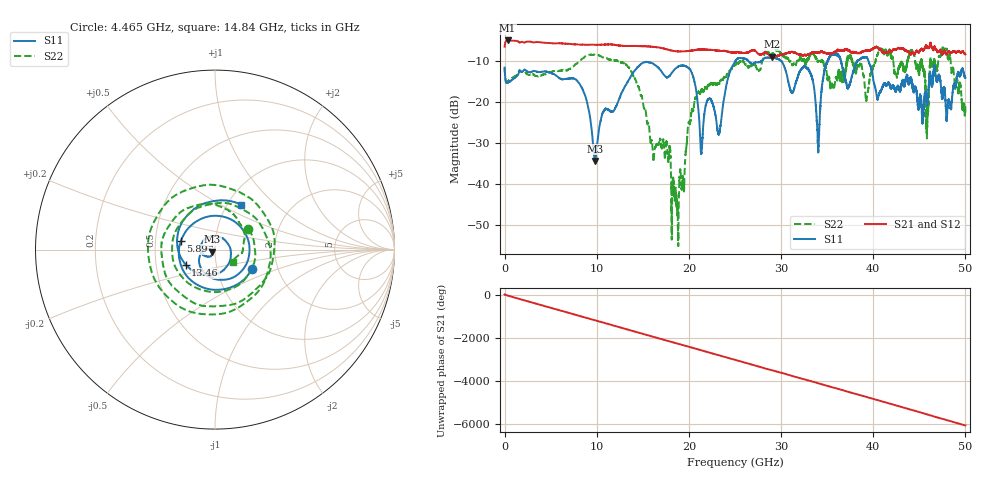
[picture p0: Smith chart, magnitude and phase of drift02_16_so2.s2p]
!Created with skrf (http://scikit-rf.org).
# Hz S RI R 50.0
!freq ReS11 ImS11 ReS21 ImS21 ReS12 ImS12 ReS22 ImS22
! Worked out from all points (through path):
!   10001 points, 300 kHz to 50 GHz, reference 50 ohm
!   highest |S21| = -5.04 dB at 320.3 MHz (marker M1); lowest = -9.0 dB at 29.01 GHz (marker M2)
!   group delay of S21, straight-line fit = 336 ps
!   lowest |S11| = -34.5 dB at 9.84 GHz (marker M3), VSWR 1.04, Z = 48.5 - j1.05 ohm
!   |S11| at or under -10 dB: start of sweep to 25.07 GHz; 29.97 GHz to 35.05 GHz (5.081 GHz wide, 15.6 % of centre); 39.47 GHz to end of sweep (the widest 3 of 7)
!   |S22| runs from -55.3 to -6.7 dB; largest |S21 - S12| = 0.022
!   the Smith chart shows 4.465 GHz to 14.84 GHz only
!   S11 on the Smith chart (normalised r, x): 4.465 GHz: 1.47, -0.34; 5.89 GHz: 0.68, +0.07; 13.46 GHz: 0.71, -0.12; 14.84 GHz: 1.15, +0.63
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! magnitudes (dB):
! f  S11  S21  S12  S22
! 300 kHz  -11.7  -6.5  -6.4  -11.7
! 320.3 MHz  -15.4  -5.0  -5.0  -15.0
! 4.465 GHz  -12.6  -5.6  -5.6  -13.3
! 5.89 GHz  -14.2  -5.7  -5.7  -12.5
! 8.335 GHz  -16.4  -6.1  -6.0  -9.6
! 9.84 GHz  -34.5  -6.1  -6.1  -8.5
! 13.46 GHz  -14.7  -6.4  -6.4  -11.6
! 14.84 GHz  -10.8  -6.4  -6.4  -18.6
! 16.67 GHz  -11.7  -6.7  -6.7  -30.4
! 18.68 GHz  -11.7  -7.7  -7.7  -44.3
! 20.37 GHz  -13.3  -7.5  -7.5  -22.1
! 21.37 GHz  -32.5  -7.3  -7.3  -17.0
! 23.3 GHz  -27.7  -7.6  -7.6  -15.6
! 25 GHz  -10.3  -8.0  -8.0  -11.1
! 29.01 GHz  -9.2  -9.0  -9.0  -8.3
! 33.34 GHz  -14.0  -8.1  -8.1  -8.1
! 34.02 GHz  -31.0  -7.9  -8.0  -10.2
! 35.52 GHz  -8.5  -8.2  -8.0  -15.8
! 41.67 GHz  -15.4  -7.7  -7.8  -7.6
! 45.86 GHz  -20.6  -6.7  -6.8  -21.6
! 47.77 GHz  -17.9  -7.6  -7.6  -7.5
! 50 GHz  -14.1  -8.5  -8.5  -21.1
